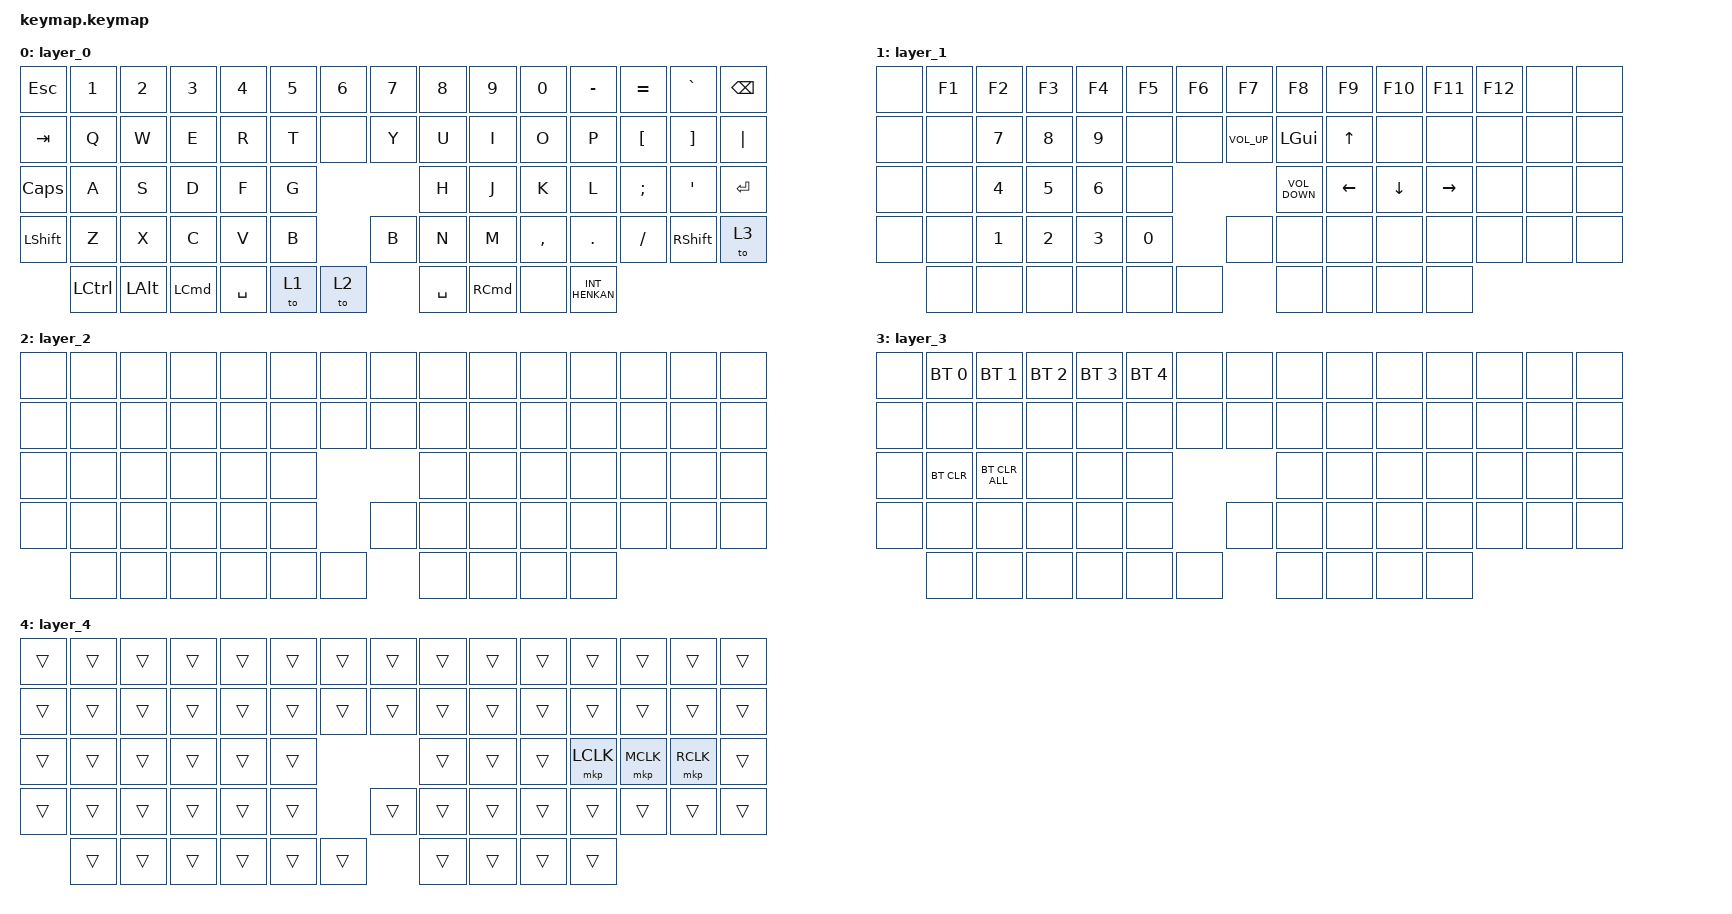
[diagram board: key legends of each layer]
#include <behaviors.dtsi>
#include <dt-bindings/zmk/bt.h>
#include <dt-bindings/zmk/keys.h>
#include <dt-bindings/zmk/pointing.h>

/ {
    keymap {
        compatible = "zmk,keymap";

        layer_0 {
            bindings = <
&kp ESC       &kp N1            &kp N2        &kp N3            &kp N4     &kp N5  &kp N6  &kp NUMBER_7  &kp NUMBER_8  &kp N9             &kp N0     &kp MINUS       &kp EQUAL      &kp GRAVE         &kp BACKSPACE
&kp TAB       &kp Q             &kp W         &kp E             &kp R      &kp T   &none                 &kp Y         &kp U              &kp I      &kp O           &kp P          &kp LEFT_BRACKET  &kp RIGHT_BRACKET  &kp PIPE
&kp CAPSLOCK  &kp A             &kp S         &kp D             &kp F      &kp G                         &kp H         &kp J              &kp K      &kp L           &kp SEMICOLON  &kp SQT           &kp RETURN
&kp LSHIFT    &kp Z             &kp X         &kp C             &kp V      &kp B           &kp B         &kp N         &kp M              &kp COMMA  &kp PERIOD      &kp SLASH      &kp RIGHT_SHIFT   &to 3
              &kp LEFT_CONTROL  &kp LEFT_ALT  &kp LEFT_COMMAND  &kp SPACE  &to 1   &to 2                 &kp SPACE     &kp RIGHT_COMMAND  &none      &kp INT_HENKAN
            >;
        };

        layer_1 {
            bindings = <
&none  &kp F1  &kp F2        &kp F3        &kp F4        &kp F5        &kp F6  &kp F7  &kp F8             &kp F9          &kp F10         &kp F11          &kp F12  &none  &none
&none  &none   &kp NUMBER_7  &kp NUMBER_8  &kp NUMBER_9  &none         &none           &kp C_VOLUME_UP    &kp LEFT_GUI    &kp UP_ARROW    &none            &none    &none  &none  &none
&none  &none   &kp NUMBER_4  &kp NUMBER_5  &kp NUMBER_6  &none                         &kp C_VOLUME_DOWN  &kp LEFT_ARROW  &kp DOWN_ARROW  &kp RIGHT_ARROW  &none    &none  &none
&none  &none   &kp NUMBER_1  &kp NUMBER_2  &kp NUMBER_3  &kp NUMBER_0          &none   &none              &none           &none           &none            &none    &none  &none
       &none   &none         &none         &none         &none         &none           &none              &none           &none           &none
            >;
        };

        layer_2 {
            bindings = <
&none  &none  &none  &none  &none  &none  &none  &none  &none  &none  &none  &none  &none  &none  &none
&none  &none  &none  &none  &none  &none  &none         &none  &none  &none  &none  &none  &none  &none  &none
&none  &none  &none  &none  &none  &none                &none  &none  &none  &none  &none  &none  &none
&none  &none  &none  &none  &none  &none         &none  &none  &none  &none  &none  &none  &none  &none
       &none  &none  &none  &none  &none  &none         &none  &none  &none  &none
            >;
        };

        layer_3 {
            bindings = <
&none  &bt BT_SEL 0  &bt BT_SEL 1    &bt BT_SEL 2  &bt BT_SEL 3  &bt BT_SEL 4  &none  &none  &none  &none  &none  &none  &none  &none  &none
&none  &none         &none           &none         &none         &none         &none         &none  &none  &none  &none  &none  &none  &none  &none
&none  &bt BT_CLR    &bt BT_CLR_ALL  &none         &none         &none                       &none  &none  &none  &none  &none  &none  &none
&none  &none         &none           &none         &none         &none                &none  &none  &none  &none  &none  &none  &none  &none
       &none         &none           &none         &none         &none         &none         &none  &none  &none  &none
            >;
        };

        layer_4 {
            bindings = <
&trans  &trans  &trans  &trans  &trans  &trans  &trans  &trans  &trans  &trans  &trans  &trans     &trans     &trans     &trans
&trans  &trans  &trans  &trans  &trans  &trans  &trans          &trans  &trans  &trans  &trans     &trans     &trans     &trans  &trans
&trans  &trans  &trans  &trans  &trans  &trans                  &trans  &trans  &trans  &mkp LCLK  &mkp MCLK  &mkp RCLK  &trans
&trans  &trans  &trans  &trans  &trans  &trans          &trans  &trans  &trans  &trans  &trans     &trans     &trans     &trans
        &trans  &trans  &trans  &trans  &trans  &trans          &trans  &trans  &trans  &trans
            >;
        };
    };
};
